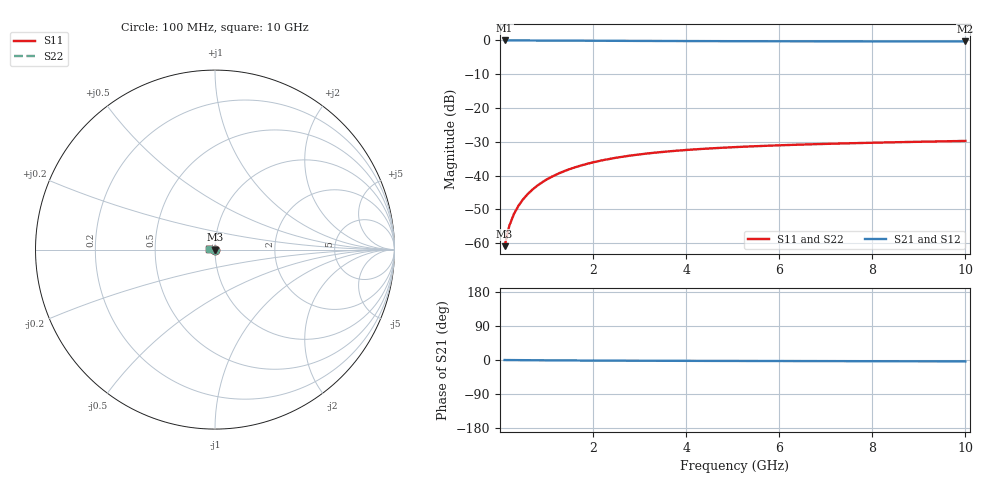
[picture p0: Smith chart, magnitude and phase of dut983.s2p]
! Touchstone file exported from HFSS 2024.1.0
!  File:  C:/UserFiles/LocalFiles/RDL_TSV_Batchsim/temp_TSV1_983_1779952193.aedt
!  Generated:  03:14:48 PM May 28, 2026
!  Design:  TSV1
!  Project:  temp_TSV1_983_1779952193
!  Setup:  Setup1
!  Solution:  Sweep
! Variables:
!  dtsv = 11.36um
!  hbump = 3um
!  htsv = 53.05um
!  lrdl = 252.1521522um
!  p = 40
!  p1 = 52.76um
!  t = 500um
!  trdl = 3um
!  wrdl = 24.89489489um
# GHz S MA R 50.000000
! Terminal data exported
! Port[1] = TSV22_T1
! Port[2] = TSV22_T2
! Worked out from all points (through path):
!   100 points, 100 MHz to 10 GHz, reference 50 ohm
!   highest |S21| = 0.00 dB at 100 MHz (marker M1); lowest = -0.3 dB at 10 GHz (marker M2)
!   lowest |S11| = -60.9 dB at 100 MHz (marker M3), VSWR 1.00, Z = 50 - j0.0905 ohm
!   |S11| at or under -10 dB: start of sweep to end of sweep
!   |S22| runs from -60.9 to -29.7 dB; largest |S21 - S12| = 6.7e-15
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0.1  0.0009064 -86.3  0.9999 -0.1  0.9999 -0.1  0.0009064 -86.3
! Gamma 0 0 0 0
! Port Impedance 50 0 50 0
0.2  0.001808 -90.8  0.9998 -0.2  0.9998 -0.2  0.001808 -90.8
0.3  0.002709 -93.6  0.9996 -0.3  0.9996 -0.3  0.002709 -93.6
0.4  0.003607 -95.9  0.9994 -0.4  0.9994 -0.4  0.003607 -95.9
0.5  0.004497 -98.1  0.9991 -0.4  0.9991 -0.4  0.004497 -98.1
0.6  0.005376 -100.2  0.9988 -0.5  0.9988 -0.5  0.005376 -100.2
0.7  0.006243 -102.2  0.9984 -0.6  0.9984 -0.6  0.006243 -102.2
0.8  0.007094 -104.2  0.998 -0.7  0.998 -0.7  0.007094 -104.2
0.9  0.007928 -106.1  0.9975 -0.8  0.9975 -0.8  0.007928 -106.1
1.1  0.009541 -109.8  0.9965 -0.9  0.9965 -0.9  0.009541 -109.8
1.4  0.01181 -115.1  0.9947 -1.1  0.9947 -1.1  0.01181 -115.1
1.6  0.01321 -118.4  0.9934 -1.3  0.9934 -1.3  0.01321 -118.4
1.8  0.01451 -121.6  0.9921 -1.4  0.9921 -1.4  0.01451 -121.6
2.1  0.01631 -126.0  0.9901 -1.6  0.9901 -1.6  0.01631 -126.0
2.5  0.01842 -131.6  0.9875 -1.7  0.9875 -1.7  0.01842 -131.6
2.9  0.02022 -136.5  0.985 -1.9  0.985 -1.9  0.02022 -136.5
3.4  0.02212 -142.1  0.9822 -2.1  0.9822 -2.1  0.02212 -142.1
4.2  0.02452 -149.9  0.9784 -2.3  0.9784 -2.3  0.02452 -149.9
5.1  0.02655 -157.1  0.975 -2.5  0.975 -2.5  0.02655 -157.1
6.7  0.02913 -167.5  0.9708 -2.9  0.9708 -2.9  0.02913 -167.5
8.4  0.03112 -176.3  0.9679 -3.3  0.9679 -3.3  0.03112 -176.3
10  0.03265 176.7  0.966 -3.6  0.966 -3.6  0.03265 176.7
